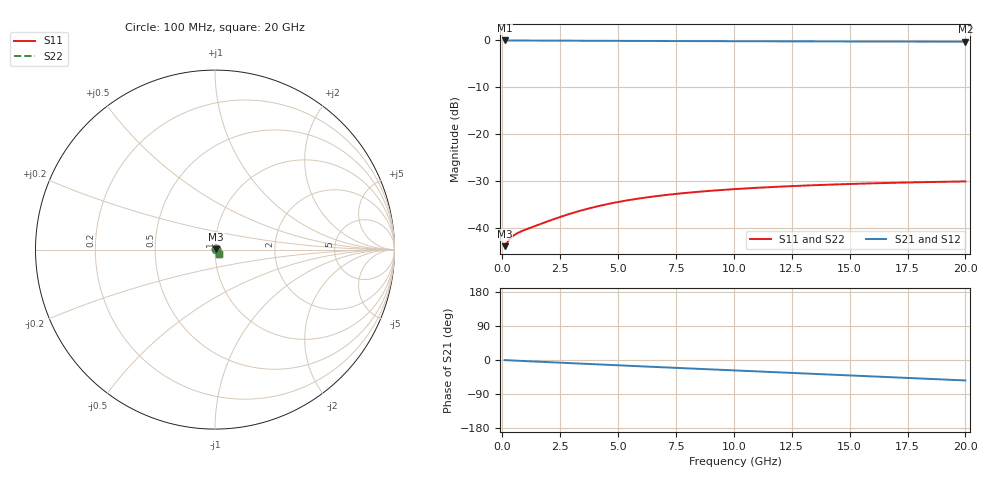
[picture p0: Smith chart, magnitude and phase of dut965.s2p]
! Touchstone file exported from HFSS 2026.1.0
!  File:  C:/ffzhzh/LocalFiles/Ansys_Project_Files/temp_train_TMRDL_965_1783158919_51560.aedt
!  Generated:  05:56:48 PM Jul  4, 2026
!  Design:  TMRDL
!  Project:  temp_train_TMRDL_965_1783158919_51560
! Variables:
!  h_bsmrdl = 2um
!  h_ox = 20um
!  h_rdl = 5um
!  h_sub = 80um
!  h_tmrdl = 5.5um
!  h_tsv = 80um
!  h_via = 3um
!  l_bsmrdl = 300um
!  l_sub = 1399.64um
!  l_tmrdl = 999.64um
!  m_sub = 200um
!  pitch = 14.46um
!  r_tsv = 6um
!  s_tmrdl = 10um
!  w_bsmrdl = 18um
!  w_sub = 500um
!  w_tmrdl = 10.34um
!  x_tsv_center1 = 1004.81um
!  x_tsv_center2 = 1322.81um
!  x_tsv_center3 = 2332.79um
!  x_tsv_center4 = 2650.79um
!  x_tsv_center5 = 3660.77um
!  x_tsv_center6 = 3978.77um
# GHz S MA R 50.000000
! Terminal data exported
! Port[1] = TM_RDL1_1_T1
! Port[2] = TM_RDL1_1_T2
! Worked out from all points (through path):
!   200 points, 100 MHz to 20 GHz, reference 50 ohm
!   highest |S21| = -0.05 dB at 100 MHz (marker M1); lowest = -0.3 dB at 20 GHz (marker M2)
!   group delay of S21, straight-line fit = 7.45 ps
!   lowest |S11| = -43.9 dB at 100 MHz (marker M3), VSWR 1.01, Z = 50.6 + j0.0914 ohm
!   |S11| at or under -10 dB: start of sweep to end of sweep
!   |S22| runs from -43.9 to -30.2 dB; largest |S21 - S12| = 5.4e-15
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0.1  0.006371 8.1  0.9937 -0.3  0.9937 -0.3  0.006371 8.1
! Gamma 0 0 0 0
! Port Impedance 50 0 50 0
0.3  0.007475 15.8  0.9928 -0.9  0.9928 -0.9  0.007475 15.8
0.4  0.007946 16.9  0.9924 -1.2  0.9924 -1.2  0.007946 16.9
0.5  0.008322 17.6  0.9921 -1.5  0.9921 -1.5  0.008321 17.6
0.7  0.008889 18.6  0.9917 -2.1  0.9917 -2.1  0.008888 18.6
1.1  0.00977 20.9  0.9911 -3.2  0.9911 -3.2  0.009769 20.9
2.3  0.01255 25.3  0.9893 -6.6  0.9893 -6.6  0.01255 25.3
2.9  0.01405 25.2  0.9882 -8.2  0.9882 -8.2  0.01404 25.2
3.5  0.01552 24.0  0.987 -9.9  0.987 -9.9  0.01551 24.0
4.2  0.01715 21.8  0.9856 -11.8  0.9856 -11.8  0.01714 21.8
5  0.01884 18.5  0.9839 -14.0  0.9839 -14.0  0.01883 18.5
5.9  0.02053 14.4  0.9821 -16.5  0.9821 -16.5  0.0205 14.4
6.8  0.02199 10.1  0.9804 -18.9  0.9804 -18.9  0.02196 10.2
7.5  0.02299 6.8  0.9791 -20.8  0.9791 -20.8  0.02296 6.8
8.3  0.02401 2.9  0.9778 -22.9  0.9778 -22.9  0.02397 3.0
10.1  0.02591 -5.5  0.9751 -27.7  0.9751 -27.7  0.02585 -5.4
11.7  0.02726 -12.7  0.9729 -32.0  0.9729 -32.0  0.02717 -12.6
13.4  0.02842 -20.0  0.9708 -36.5  0.9708 -36.5  0.0283 -20.0
15  0.02932 -26.8  0.969 -40.7  0.969 -40.7  0.02918 -26.7
16.7  0.03011 -33.7  0.9672 -45.2  0.9672 -45.2  0.02994 -33.6
18.4  0.03075 -40.4  0.9655 -49.7  0.9655 -49.7  0.03054 -40.3
20  0.03122 -46.7  0.9639 -53.9  0.9639 -53.9  0.03097 -46.6
